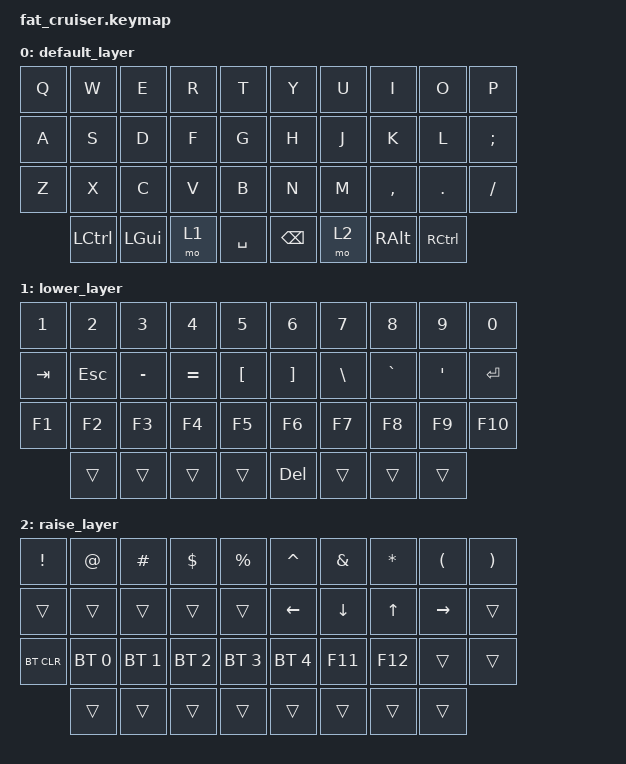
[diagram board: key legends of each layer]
/*
 * Copyright (c) 2025
 * SPDX-License-Identifier: MIT
 */

#include <behaviors.dtsi>
#include <dt-bindings/zmk/keys.h>
#include <dt-bindings/zmk/bt.h>

/ {
	keymap {
		compatible = "zmk,keymap";

		default_layer {
			bindings = <
				&kp Q     &kp W     &kp E     &kp R     &kp T     &kp Y     &kp U     &kp I     &kp O     &kp P
				&kp A     &kp S     &kp D     &kp F     &kp G     &kp H     &kp J     &kp K     &kp L     &kp SEMI
				&kp Z     &kp X     &kp C     &kp V     &kp B     &kp N     &kp M     &kp COMMA &kp DOT   &kp SLASH
				          &kp LCTRL &kp LGUI  &mo 1     &kp SPACE &kp BSPC  &mo 2     &kp RALT  &kp RCTRL
			>;
		};

		lower_layer {
			bindings = <
				&kp N1    &kp N2    &kp N3    &kp N4    &kp N5    &kp N6    &kp N7    &kp N8    &kp N9    &kp N0
				&kp TAB   &kp ESC   &kp MINUS &kp EQUAL &kp LBKT  &kp RBKT  &kp BSLH  &kp GRAVE &kp SQT   &kp RET
				&kp F1    &kp F2    &kp F3    &kp F4    &kp F5    &kp F6    &kp F7    &kp F8    &kp F9    &kp F10
				          &trans    &trans    &trans    &trans    &kp DEL   &trans    &trans    &trans
			>;
		};

		raise_layer {
			bindings = <
				&kp EXCL  &kp AT    &kp HASH  &kp DLLR  &kp PRCNT &kp CARET &kp AMPS  &kp STAR  &kp LPAR  &kp RPAR
				&trans    &trans    &trans    &trans    &trans    &kp LEFT  &kp DOWN  &kp UP    &kp RIGHT &trans
				&bt BT_CLR &bt BT_SEL 0 &bt BT_SEL 1 &bt BT_SEL 2 &bt BT_SEL 3 &bt BT_SEL 4 &kp F11 &kp F12 &trans &trans
				          &trans    &trans    &trans    &trans    &trans    &trans    &trans    &trans
			>;
		};
	};
};
